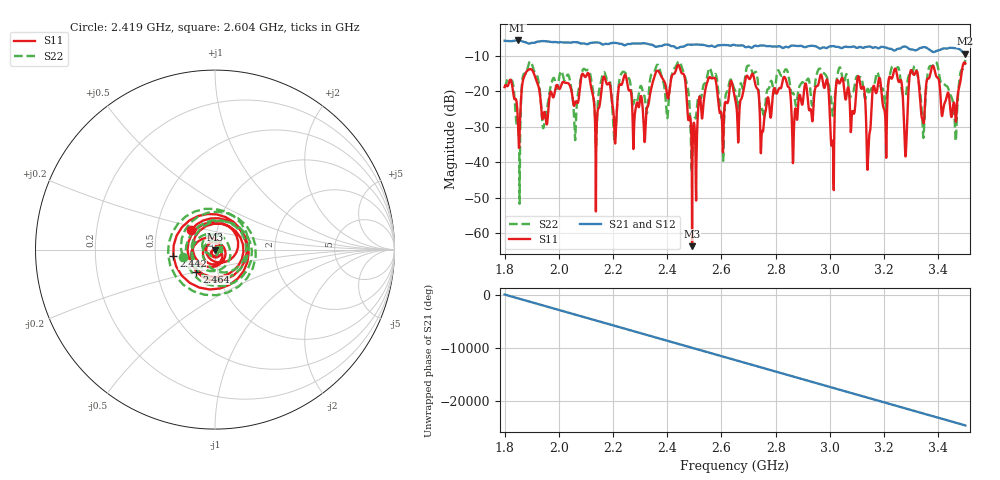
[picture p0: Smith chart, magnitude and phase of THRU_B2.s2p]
# Hz S RI R 50
! RAW DATA - UNCALIBRATED
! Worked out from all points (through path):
!   1601 points, 1.8 GHz to 3.5 GHz, reference 50 ohm
!   highest |S21| = -5.67 dB at 1.848 GHz (marker M1); lowest = -9.4 dB at 3.5 GHz (marker M2)
!   group delay of S21, straight-line fit = 40.4 ns
!   lowest |S11| = -63.6 dB at 2.492 GHz (marker M3), VSWR 1.00, Z = 50 - j0.0579 ohm
!   |S11| at or under -10 dB: start of sweep to end of sweep
!   |S22| runs from -51.7 to -11.1 dB; largest |S21 - S12| = 0.15
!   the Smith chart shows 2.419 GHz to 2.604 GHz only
!   S11 on the Smith chart (normalised r, x): 2.419 GHz: 0.75, +0.17; 2.442 GHz: 0.62, -0.05; 2.464 GHz: 0.79, -0.20; 2.604 GHz: 1.04, +0.02
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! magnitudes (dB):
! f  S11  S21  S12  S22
! 1.8 GHz  -18.8  -5.7  -5.8  -19.0
! 1.848 GHz  -26.4  -5.7  -5.7  -29.7
! 1.893 GHz  -13.8  -6.5  -6.5  -11.6
! 1.944 GHz  -26.2  -5.9  -5.9  -30.0
! 2.084 GHz  -15.6  -6.6  -6.6  -15.4
! 2.206 GHz  -32.4  -6.3  -6.3  -33.9
! 2.367 GHz  -14.3  -7.3  -7.3  -12.7
! 2.419 GHz  -15.3  -7.3  -7.2  -14.7
! 2.442 GHz  -12.6  -7.7  -7.7  -11.6
! 2.464 GHz  -15.9  -7.3  -7.3  -15.6
! 2.492 GHz  -63.6  -6.9  -6.8  -40.5
! 2.555 GHz  -16.0  -7.3  -7.3  -13.4
! 2.604 GHz  -33.8  -6.9  -6.9  -32.3
! 2.65 GHz  -21.9  -7.0  -6.9  -19.6
! 2.934 GHz  -27.5  -7.1  -7.2  -23.9
! 2.987 GHz  -17.0  -7.8  -7.8  -15.7
! 3.009 GHz  -33.9  -7.3  -7.3  -26.4
! 3.108 GHz  -16.3  -7.5  -7.6  -16.1
! 3.143 GHz  -35.0  -7.4  -7.4  -20.0
! 3.217 GHz  -16.6  -8.0  -8.0  -16.7
! 3.463 GHz  -26.6  -7.8  -8.0  -32.1
! 3.5 GHz  -12.2  -9.4  -9.5  -11.1
